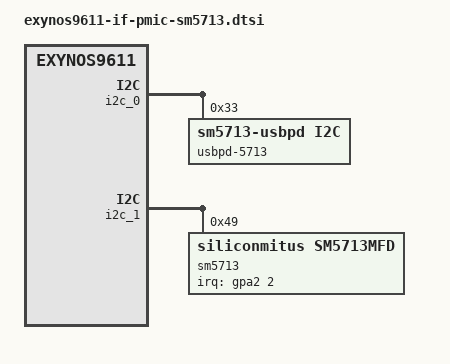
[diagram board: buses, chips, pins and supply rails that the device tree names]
/*
 * SAMSUNG EXYNOS9611 board common device tree source
 *
 * Copyright (c) 2020 Samsung Electronics Co., Ltd.
 *		http://www.samsung.com
 *
 * This program is free software; you can redistribute it and/or modify
 * it under the terms of the GNU General Public License version 2 as
 * published by the Free Software Foundation.
 */

&pinctrl_0 {
	if_pmic_irq: if-pmic-irq {
		samsung,pins = "gpa2-2";
		samsung,pin-function = <0>;
		samsung,pin-pud = <0>;
		samsung,pin-drv = <0>;
	};

	usbpd_irq: usbpd-irq {
		samsung,pins = "gpa2-3";
		samsung,pin-function = <0x0f>;
		samsung,pin-pud = <0>;
		samsung,pin-drv = <0>;
	};
};

&i2c_0 {
	i2c-gpio,delay-us = <5>;
	status = "okay";
	samsung,glitch-filter;
	samsung,fix-doxfer-return;
	#address-cells = <1>;
	#size-cells = <0>;
	samsung,i2c-max-bus-freq = <400000>;
	usbpd-5713@33 {
		compatible = "sm5713-usbpd,i2c";
		reg = <0x33>;
		pinctrl-names = "default";
		/* vconn-en; */
		support_pd_role_swap;
		pinctrl-0 = <&usbpd_irq>;
		usbpd,usbpd_int = <&gpa2 3 0>;
	};
};

&i2c_1 {
	#address-cells = <1>;
	#size-cells = <0>;
	status = "okay";
	samsung,glitch-filter;
	samsung,fix-doxfer-return;
	samsung,i2c-max-bus-freq = <400000>;
	sm5713@49{
		compatible = "siliconmitus,sm5713mfd";
		reg = <0x49>;
		pinctrl-names = "default";
		pinctrl-0 = <&chg_en &if_pmic_irq>;
		sm5713,irq-gpio = <&gpa2 2 0>;
		sm5713,wakeup;
	};
};
